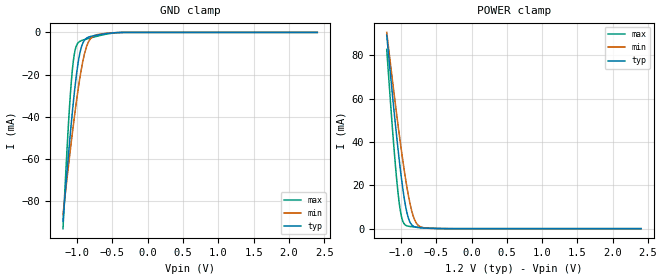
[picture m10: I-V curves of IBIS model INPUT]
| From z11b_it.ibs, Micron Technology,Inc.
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| MODEL INPUT (Add/Cmd/Ctrl Input Model, 1600-3200Mbps)
[Model]   INPUT
Model_type   Input
Vinl = 510.000mV
Vinh = 690.000mV
|   typ   min   max
|C_comp   0.306pF   0.256pF   0.356pF
C_comp_power_clamp   0.153pF   0.128pF   0.178pF
C_comp_gnd_clamp   0.153pF   0.128pF   0.178pF
[Model Spec]
| Input threshold voltage corners
Vinl   0.5100V   0.4800V   0.5400V
Vinh   0.6900V   0.6600V   0.7200V
| Dynamic Overshoot Parameters from DDR4 Specification
|D_overshoot_ampl_h   0.30   NA   NA
|D_overshoot_ampl_l   0.30   NA   NA
|D_overshoot_area_h   0.1754n   NA   NA
|D_overshoot_area_l   0.1762n   NA   NA
[Receiver Thresholds]
Vth   =  0.600V
Vth_min  =  0.5880V
Vth_max  =  0.6120V
Vinh_ac  =  0.090V
Vinh_dc  =  0.065V
Vinl_ac  = -0.090V
Vinl_dc  = -0.065V
Tslew_ac =  5.000ns |Not specified, so set to high value
Threshold_sensitivity = 0.50
Reference_supply Power_clamp_ref
[Voltage Range]   1.2000V   1.1400V   1.2600V
[POWER Clamp Reference]   1.2000V   1.1400V   1.2600V
| Junction Temperature (Ambient temp is 35C typ, 95C min, -40C max)
[Temperature Range]   50.0   110.0   -40.0
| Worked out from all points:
|   GND clamp passes 1 mA (typ) near -0.67 V on its own axis
|   POWER clamp passes 1 mA (typ) near -0.81 V on its own axis
[GND Clamp]
|   Voltage   I(typ)   I(min)   I(max)
-1.2V     -89.68mA   -86.59mA   -93.22mA
-1.13V    -61.04mA   -65.61mA   -47.82mA
-1.08V    -42.27mA   -51.32mA   -22.56mA
-1.055V   -33.7mA    -44.49mA   -14.04mA
-1.035V   -27.36mA   -39.2mA    -9.544mA
-970mV    -11.4mA    -23.53mA   -4.445mA
-915mV    -4.795mA   -13.05mA   -3.615mA
-850mV    -2.438mA   -5.289mA   -2.991mA
-795mV    -1.792mA   -2.425mA   -2.488mA
-700mV    -1.156mA   -973.3uA   -1.672mA
-355mV    -25.65uA   -19.32uA   -21.87uA
2.4V      0A         0A         0A
[POWER Clamp]
|   Voltage   I(typ)   I(min)   I(max)
-1.2V     89.29mA    90.58mA    82.73mA
-1.14V    68.65mA    74.03mA    55.23mA
-1.09V    52.16mA    60.64mA    34.17mA
-1.05V    39.66mA    50.27mA    19.65mA
-1.015V   29.47mA    41.51mA    9.873mA
-970mV    17.9mA     30.87mA    3.246mA
-920mV    8.239mA    20.21mA    1.375mA
-880mV    3.654mA    13.06mA    1.045mA
-840mV    1.553mA    7.451mA    893.2uA
-770mV    565.2uA    2.076mA    687uA
-650mV    254.4uA    260.1uA    373.1uA
2.4V      0A         0A         0A
